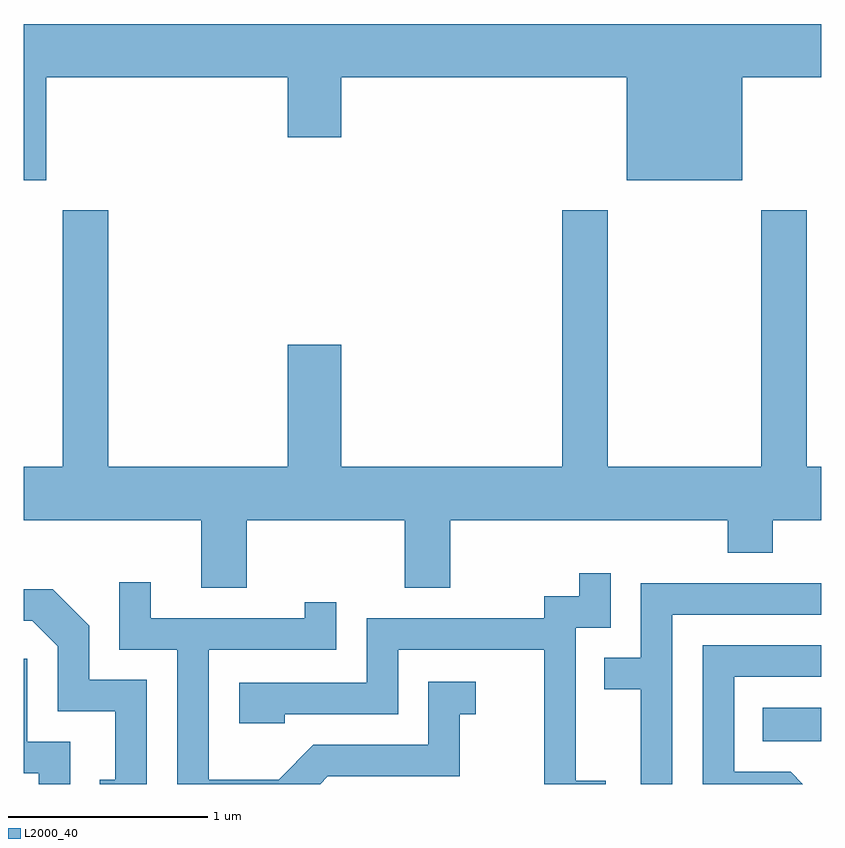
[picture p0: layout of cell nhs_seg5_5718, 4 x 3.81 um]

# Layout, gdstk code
import gdstk
lib = gdstk.Library(unit=1e-6, precision=1e-09)
def R(c, l, rs):  # rectangles x0, y0, x1, y1
    for r in rs: c.add(gdstk.rectangle(r[:2], r[2:], *l))
def P(c, l, *ps):  # polygons
    for p in ps: c.add(gdstk.Polygon(p, *l))
L2000_40 = (2000, 40)

nhs_seg5_5718 = lib.new_cell('nhs_seg5_5718')
R(nhs_seg5_5718, L2000_40, [(357.318,1522.286,357.611,1522.454)])
P(nhs_seg5_5718, L2000_40, [(353.724,1525.616),(354.936,1525.616),(354.936,1525.316),(355.204,1525.316),(355.204,1525.616),(356.636,1525.616),(356.636,1525.101),(357.214,1525.101),(357.214,1525.616),(357.611,1525.616),(357.611,1525.884),(353.611,1525.884),(353.611,1525.101),(353.724,1525.101)],
  [(354.729,1523.396),(355.521,1523.396),(355.521,1523.056),(355.749,1523.056),(355.749,1523.396),(357.141,1523.396),(357.141,1523.231),(357.369,1523.231),(357.369,1523.396),(357.611,1523.396),(357.611,1523.664),(357.539,1523.664),(357.539,1524.949),(357.311,1524.949),(357.311,1523.664),(356.539,1523.664),(356.539,1524.949),(356.311,1524.949),(356.311,1523.664),(355.204,1523.664),(355.204,1524.274),(354.936,1524.274),(354.936,1523.664),(354.034,1523.664),(354.034,1524.949),(353.806,1524.949),(353.806,1523.664),(353.611,1523.664),(353.611,1523.396),(354.501,1523.396),(354.501,1523.056),(354.729,1523.056)],
  [(356.529,1522.089),(356.379,1522.089),(356.379,1522.856),(356.554,1522.856),(356.554,1523.128),(356.396,1523.128),(356.396,1523.014),(356.221,1523.014),(356.221,1522.904),(355.331,1522.904),(355.331,1522.579),(354.691,1522.579),(354.691,1522.376),(354.919,1522.376),(354.919,1522.421),(355.489,1522.421),(355.489,1522.746),(356.221,1522.746),(356.221,1522.072),(356.529,1522.072)],
  [(355.137,1522.111),(355.799,1522.111),(355.799,1522.421),(355.878,1522.421),(355.878,1522.584),(355.641,1522.584),(355.641,1522.269),(355.064,1522.269),(354.889,1522.094),(354.539,1522.094),(354.539,1522.746),(355.179,1522.746),(355.179,1522.983),(355.021,1522.983),(355.021,1522.904),(354.249,1522.904),(354.249,1523.083),(354.091,1523.083),(354.091,1522.746),(354.381,1522.746),(354.381,1522.072),(355.098,1522.072)],
  [(356.864,1522.921),(357.611,1522.921),(357.611,1523.079),(356.706,1523.079),(356.706,1522.704),(356.523,1522.704),(356.523,1522.546),(356.706,1522.546),(356.706,1522.072),(356.864,1522.072)],
  [(354.229,1522.594),(353.939,1522.594),(353.939,1522.867),(353.757,1523.049),(353.611,1523.049),(353.611,1522.891),(353.654,1522.891),(353.781,1522.764),(353.781,1522.436),(354.071,1522.436),(354.071,1522.094),(353.993,1522.094),(353.993,1522.072),(354.229,1522.072)],
  [(357.457,1522.134),(357.174,1522.134),(357.174,1522.611),(357.611,1522.611),(357.611,1522.769),(357.016,1522.769),(357.016,1522.072),(357.519,1522.072)],
  [(353.844,1522.284),(353.629,1522.284),(353.629,1522.699),(353.611,1522.699),(353.611,1522.126),(353.686,1522.126),(353.686,1522.072),(353.844,1522.072)])

lib.write_gds('nhs_seg5_5718.gds')
